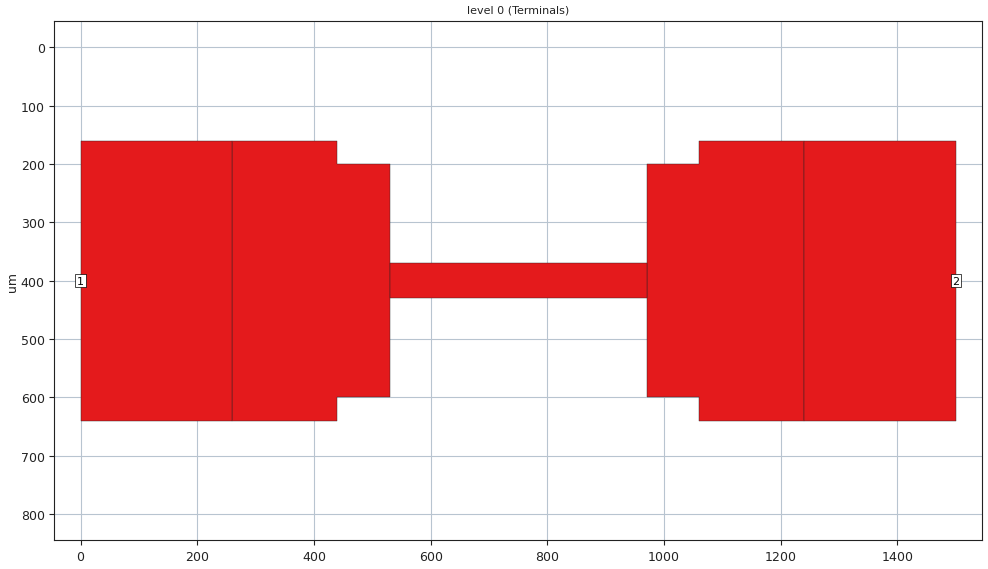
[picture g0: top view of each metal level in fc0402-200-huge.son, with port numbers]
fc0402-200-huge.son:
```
FTYP SONPROJ 19 ! Sonnet Project File
VER 18.01
HEADER
LIC antikernel2.1.51012 90e2ba8817c1 havequick azonenberg Level3Gold
DAT 08/19/2021 15:42:07
BUILT_BY_CREATED xgeom 18.01 08/19/2021 15:16:25
BUILT_BY_SAVED sonnet 18.01
MDATE 08/19/2021 15:42:07
HDATE 08/19/2021 15:42:07
END HEADER
DIM
ANG DEG
CAP PF
CON /OH
FREQ GHZ
IND NH
LNG UM
RES OH
END DIM
CONTROL
VARSWP
OPTIONS  -dj
SPEED 0
CACHE_ABS 2
Q_ACC N
END CONTROL
GEO
SYM
DRP1 LEFT LINK
POLY 106 1
0
DRP1 RIGHT LINK
POLY 110 1
0
TMET "Free Space" 0 FREESPACE 376.7303136 0 0 0
BMET "Free Space" 0 FREESPACE 376.7303136 0 0 0
MET "Copper 15um" 1 NOR 58000000 0.5 15 
MET "Resistor 110 ohm/sq" 2 RES 110
BOX 2 1500 800 300 160 20 0
      10000 1 1 0 0 0 0 "Air"
      500 9.9 1 0.0001 0 0 0 "Alumina (99.5%)"
      10000 1 1 0 0 0 0 "Air"
TECHLAY METAL Terminals <UNSPECIFIED> -2 -65534 
0 0 0 N 123 1 1 100 100 0 0 0 Y
END
END
TECHLAY METAL Resistor <UNSPECIFIED> -3 -65534 
0 0 1 N 127 1 1 100 100 0 0 0 Y
END
END
DIM STD YDIR -1
POS 250.0798038 -186.4803423
NOM 60
REF1 POLY 93 1
3
REF2 POLY 93 1
0
END
DIM STD XDIR 1
POS 564.694485 -16.98278118
NOM 440
REF1 POLY 93 1
0
REF2 POLY 93 1
1
END
LORGN 0 800 U 
POR1 BOX
POLY 106 1
2
1 50 0 0 0 0 400 
POR1 BOX
POLY 110 1
2
2 50 0 0 0 1500 400 
NUM 5
0 10 0 N 92 1 1 100 100 0 0 0 Y
TLAYNAM Terminals INH
440 600
530 600
530 400
530 200
440 200
440 160
260 160
260 640
440 640
440 600
END
0 10 0 N 98 1 1 100 100 0 0 0 Y
TLAYNAM Terminals INH
1060 600
970 600
970 400
970 200
1060 200
1060 160
1240 160
1240 640
1060 640
1060 600
END
0 5 0 N 106 1 1 100 100 0 0 0 Y
TLAYNAM Terminals INH
260 160
260 640
0 640
0 160
260 160
END
0 5 0 N 110 1 1 100 100 0 0 0 Y
TLAYNAM Terminals INH
1240 160
1240 640
1500 640
1500 160
1240 160
END
0 5 1 N 93 1 1 100 100 0 0 0 Y
TLAYNAM Resistor INH
530 370
970 370
970 430
530 430
530 370
END
END GEO
OPT
MAX 100
END OPT
VARSWP
ENABLED Y
FREQ Y AY ABS_ENTRY 0.01 40.0 -1 300 
END
END VARSWP
```
